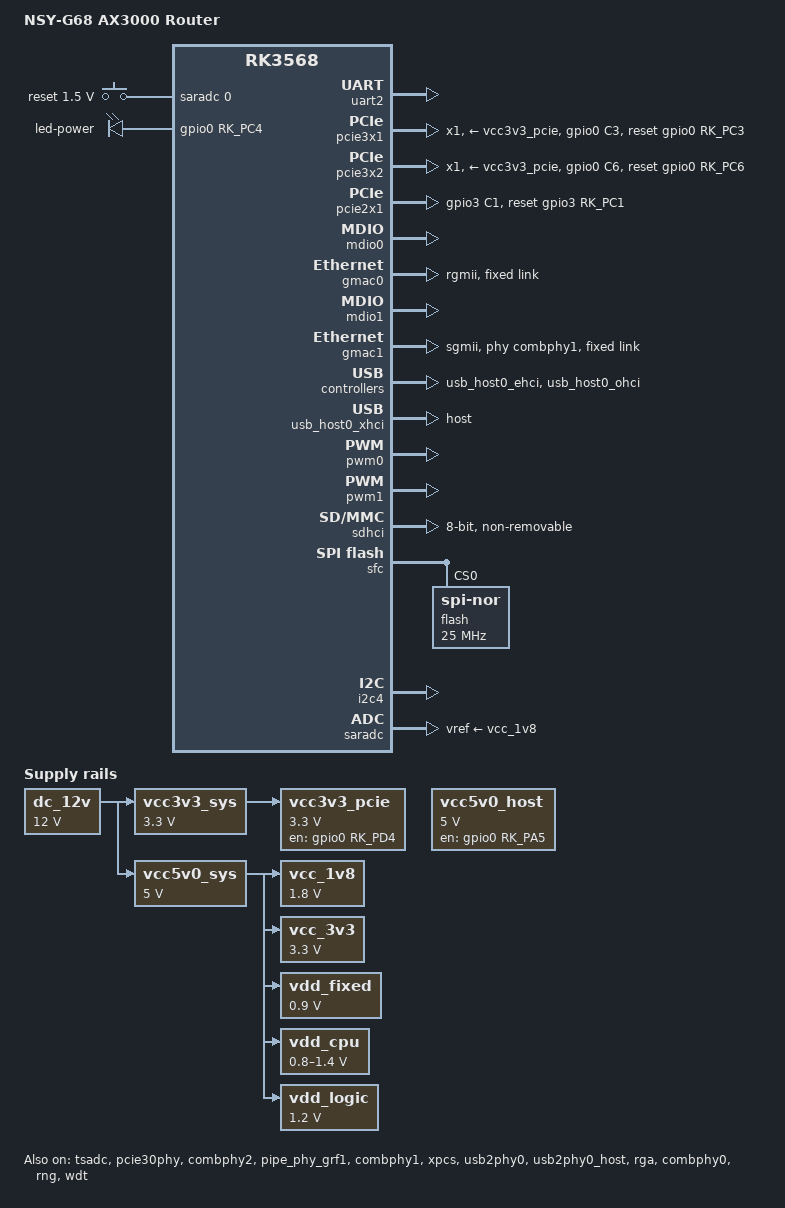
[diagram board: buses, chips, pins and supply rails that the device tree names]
// SPDX-License-Identifier: (GPL-2.0+ OR MIT)

/dts-v1/;

#include <dt-bindings/gpio/gpio.h>
#include <dt-bindings/pwm/pwm.h>
#include <dt-bindings/leds/common.h>
#include <dt-bindings/input/input.h>
#include <dt-bindings/soc/rockchip,vop2.h>
#include <dt-bindings/pinctrl/rockchip.h>
#include "rk3568.dtsi"

/ {
	model = "NSY-G68 AX3000 Router";
	compatible = "nsy,g68-plus", "rockchip,rk3568";

	aliases {
		ethernet0 = &gmac0;
		ethernet1 = &gmac1;
		mmc0 = &sdhci;
	};

	chosen: chosen {
		stdout-path = "serial2:1500000n8";
	};

	fiq-debugger {
		compatible = "rockchip,fiq-debugger";
		rockchip,serial-id = <2>;
		rockchip,wake-irq = <0>;
		/* If enable uart uses irq instead of fiq */
		rockchip,irq-mode-enable = <1>;
		rockchip,baudrate = <1500000>;  /* Only 115200 and 1500000 */
		interrupts = <GIC_SPI 252 IRQ_TYPE_LEVEL_LOW>;
		pinctrl-names = "default";
		pinctrl-0 = <&uart2m0_xfer>;
		status = "okay";
	};

	debug: debug@fd904000 {
		compatible = "rockchip,debug";
		reg = <0x0 0xfd904000 0x0 0x1000>,
			<0x0 0xfd905000 0x0 0x1000>,
			<0x0 0xfd906000 0x0 0x1000>,
			<0x0 0xfd907000 0x0 0x1000>;
	};

	dc_12v: dc-12v {
		compatible = "regulator-fixed";
		regulator-name = "dc_12v";
		regulator-always-on;
		regulator-boot-on;
		regulator-min-microvolt = <12000000>;
		regulator-max-microvolt = <12000000>;
	};

	vcc3v3_sys: vcc3v3-sys {
		compatible = "regulator-fixed";
		regulator-name = "vcc3v3_sys";
		regulator-always-on;
		regulator-boot-on;
		regulator-min-microvolt = <3300000>;
		regulator-max-microvolt = <3300000>;
		vin-supply = <&dc_12v>;
	};

	vcc5v0_sys: vcc5v0-sys {
		compatible = "regulator-fixed";
		regulator-name = "vcc5v0_sys";
		regulator-always-on;
		regulator-boot-on;
		regulator-min-microvolt = <5000000>;
		regulator-max-microvolt = <5000000>;
		vin-supply = <&dc_12v>;
	};

	vcc5v0_host: vcc5v0-host-regulator {
		compatible = "regulator-fixed";
		regulator-name = "vcc5v0_host";
		regulator-boot-on;
		regulator-always-on;
		regulator-min-microvolt = <5000000>;
		regulator-max-microvolt = <5000000>;
		enable-active-high;
		gpio = <&gpio0 RK_PA5 GPIO_ACTIVE_HIGH>;
		pinctrl-names = "default";
		pinctrl-0 = <&vcc5v0_host_en>;
	};

	vcc_1v8: vcc-1v8 {
		compatible = "regulator-fixed";
		regulator-name = "vcc_1v8";
		regulator-always-on;
		regulator-boot-on;
		regulator-min-microvolt = <1800000>;
		regulator-max-microvolt = <1800000>;
		vin-supply = <&vcc5v0_sys>;
	};

	vcc_3v3: vcc_3v3 {
		compatible = "regulator-fixed";
		regulator-name = "vcc_3v3";
		regulator-always-on;
		regulator-boot-on;
		regulator-min-microvolt = <3300000>;
		regulator-max-microvolt = <3300000>;
		vin-supply = <&vcc5v0_sys>;
		phandle = <&vcc_3v3>;
	};

	vcc3v3_pcie: vcc3v3-pcie {
		compatible = "regulator-fixed";
		regulator-name = "vcc3v3_pcie";
		enable-active-high;
		gpio = <&gpio0 RK_PD4 GPIO_ACTIVE_HIGH>;
		regulator-min-microvolt = <3300000>;
		regulator-max-microvolt = <3300000>;
		vin-supply = <&vcc3v3_sys>;
		phandle = <&vcc3v3_pcie>;
	};

	vccio_sd: LDO_REG5 {
		regulator-always-on;
		regulator-boot-on;
		regulator-min-microvolt = <1800000>;
		regulator-max-microvolt = <3300000>;
		regulator-name = "vccio_sd";

		regulator-state-mem {
			regulator-off-in-suspend;
		};
	};

	vcc3v3_sd: SWITCH_REG2 {
		regulator-always-on;
		regulator-boot-on;
		regulator-name = "vcc3v3_sd";

		regulator-state-mem {
			regulator-off-in-suspend;
		};
	};

	vdd_fixed: vdd-fixed {
		compatible = "regulator-fixed";
		regulator-name = "vdd_fixed";
		regulator-min-microvolt = <900000>;
		regulator-max-microvolt = <900000>;
		regulator-always-on;
		regulator-boot-on;
		vin-supply = <&vcc5v0_sys>;
	};

	vdd_cpu: vdd-cpu {
		compatible = "pwm-regulator";
		pwms = <&pwm0 0 25000 1>;
		regulator-name = "vdd_cpu";
		regulator-min-microvolt = <800000>;
		regulator-max-microvolt = <1400000>;
		regulator-init-microvolt = <1150000>;
		regulator-always-on;
		regulator-boot-on;
		regulator-settling-time-up-us = <250>;
		pwm-supply = <&vcc5v0_sys>;
		status = "okay";
	};


	vdd_logic: vdd-logic {
		compatible = "pwm-regulator";
		pwms = <&pwm1 0 5000 1>;
		regulator-name = "vdd_logic";
		regulator-min-microvolt = <1200000>;
		regulator-max-microvolt = <1200000>;
		regulator-init-microvolt = <900000>;
		regulator-always-on;
		regulator-boot-on;
		regulator-settling-time-up-us = <250>;
		pwm-supply = <&vcc5v0_sys>;
		status = "okay";
	};

	vdd_npu: vdd-npu {
		compatible = "pwm-regulator";
		pwms = <&pwm2 0 5000 1>;
		regulator-name = "vdd_npu";
		regulator-min-microvolt = <800000>;
		regulator-max-microvolt = <1200000>;
		regulator-init-microvolt = <950000>;
		regulator-always-on;
		regulator-boot-on;
		regulator-settling-time-up-us = <250>;
		pwm-supply = <&vcc5v0_sys>;
		status = "disabled";
	};

	gmac0_xpcsclk: xpcs-gmac0-clock {
		compatible = "fixed-clock";
		clock-frequency = <125000000>;
		clock-output-names = "clk_gmac0_xpcs_mii";
		#clock-cells = <0>;
	};

	gmac1_xpcsclk: xpcs-gmac1-clock {
		compatible = "fixed-clock";
		clock-frequency = <125000000>;
		clock-output-names = "clk_gmac1_xpcs_mii";
		#clock-cells = <0>;
	};

	adc_keys: adc-keys {
		compatible = "adc-keys";
		io-channels = <&saradc 0>;
		io-channel-names = "buttons";
		keyup-threshold-microvolt = <1800000>;
		poll-interval = <100>;
		status = "okay";
		recovery-key {
			label = "reset";
			linux,code = <KEY_RESTART>;
			press-threshold-microvolt = <1500000>;
		};
	};

	leds {
		compatible = "gpio-leds";
		led-power {
			label = "led-power";
			linux,default-trigger = "heartbeat";
			//default-state = "on";
			gpios = <&gpio0 RK_PC4 GPIO_ACTIVE_HIGH>;
			pinctrl-names = "default";
			pinctrl-0 = <&led_power_en>;
		};
	};

	rtlgsw@0 {
		compatible = "realtek,rtl8367s";
		realtek,mdio = <&mdio0>;
		mii-bus = <&mdio0>;
		realtek,id = <29>;
		phy-id = <29>;
		cpu_port = <7>;

		//txdelay, rxdelay, mode, ability.force_mode, ability.txpause, ability.rxpause, ability.link, ability.duplex, speed
		//sgmii,
		realtek,extif1 = <0 0 11 1 1 1 1 1 2>;
		//rgmii
		realtek,extif2 = <0 0 1 1 1 1 1 1 2>;
		//realtek,disable-leds;
		status = "okay";
	};
};

&i2c0 {
	status = "disabled";
};

&pinctrl {
	usb {
		vcc5v0_host_en: vcc5v0-host-en {
			rockchip,pins = <0 RK_PA5 RK_FUNC_GPIO &pcfg_pull_none>;
		};
	};

	pcie {
		pcie30x1_reset_h: pcie30x1-reset-h {
			rockchip,pins = <0 RK_PC3 RK_FUNC_GPIO &pcfg_pull_none>;
		};
		pcie30x2_reset_h: pcie30x2-reset-h {
			rockchip,pins = <0 RK_PC6 RK_FUNC_GPIO &pcfg_pull_none>;
		};
		pcie2x1_reset_h: pcie2x1-reset-h {
			rockchip,pins = <3 RK_PC1 RK_FUNC_GPIO &pcfg_pull_none>;
		};
	};

	gmac-reset {
		gmac0_reset: gmac0-reset {
			rockchip,pins = <1 RK_PB0 RK_FUNC_GPIO &pcfg_pull_none>;
		};
	};

	leds {
		led_power_en: led-power-en {
			rockchip,pins = <0 RK_PC4 RK_FUNC_GPIO &pcfg_pull_none>;
		};
	};
};

&cpu0 {
	cpu-supply = <&vdd_cpu>;
};

&cpu1 {
	cpu-supply = <&vdd_cpu>;
};

&cpu2 {
	cpu-supply = <&vdd_cpu>;
};

&cpu3 {
	cpu-supply = <&vdd_cpu>;
};

&tsadc {
	rockchip,hw-tshut-mode = <1>;
	rockchip,hw-tshut-polarity = <0>;
	status = "okay";
};

&uart2 {
	status = "okay";
};

&pcie30_phy_grf {
};

// 注意两条 pcie reset gpio 均与 NSY不同
// fe270000
// 这里需要更换uboot版本,因为只有支持的pcie拆分的才能启动这个
// 不然开启就挂死,更换版本:https://github.com/Kwiboo/u-boot-rockchip
// https://lists.denx.de/pipermail/u-boot/2023-August/525793.html
// 这个pcie,可能需要打补丁,使用radxa 版本
&pcie3x1 {
		vpcie3v3-supply = <&vcc3v3_pcie>;
		reset-gpios = <&gpio0 RK_PC3 GPIO_ACTIVE_HIGH>;
		num-lanes = <0x1>; /*可能不生效,但是拆分需要打补丁,如果是吧,打补丁*/
		pinctrl-0 = <&pcie30x1_reset_h>;
		status = "okay";
};

//fe280000
&pcie3x2 {
		vpcie3v3-supply = <&vcc3v3_pcie>;
		reset-gpios = <&gpio0 RK_PC6 GPIO_ACTIVE_HIGH>;
		status = "okay";
		num-lanes = <0x1>;
		pinctrl-0 = <&pcie30x2_reset_h>;
};

&pcie30phy {
		data-lanes = <1 2>; //配置lan的通道树
		status = "okay";
};

&combphy2 {
		status = "okay";
};

&pcie2x1 {
		reset-gpios = <&gpio3 RK_PC1 GPIO_ACTIVE_HIGH>;
		pinctrl-0 = <&pcie2x1_reset_h>;
		//for kernel.dts
		rockchip,perst-inactive-ms = <500>;
		status = "okay";
};

/*使用DSA驱动模型*/
&mdio0 {
	status = "okay";
};

&gmac0 {
	status = "okay";
	phy-mode = "rgmii";
	clock_in_out = "output";
	// reset gpio 写到交换机配置里面
	// snps,reset-gpio = <&gpio1 RK_PB0 GPIO_ACTIVE_LOW>;
	// snps,reset-active-low;
	// snps,reset-delays-us = <20000 100000 150000>;
	assigned-clocks = <&cru SCLK_GMAC0_RX_TX &cru SCLK_GMAC0>;
	assigned-clock-parents = <&cru SCLK_GMAC0_RGMII_SPEED &cru CLK_MAC0_2TOP>;
	assigned-clock-rates = <0x0 125000000>;
	tx_delay = <0x3c>;
	rx_delay = <0x2f>;
	pinctrl-names = "default";
	pinctrl-0 = <&gmac0_miim &gmac0_tx_bus2 &gmac0_rx_bus2 &gmac0_rgmii_clk &gmac0_rgmii_bus /*&gmac0_reset*/>;
	fixed-link {
		speed = <1000>;
		full-duplex;
	};
};

&mdio1 {
	status = "okay";
};

&pipe_phy_grf1 {
	status = "okay";
};

&combphy1 {
	rockchip,sgmii-mac-sel = <1>;
	status = "okay";
};

&xpcs {
	status = "okay";
};

&gmac1 {
	assigned-clocks = <&cru SCLK_GMAC1_RX_TX>;
	assigned-clock-parents = <&gmac1_xpcsclk>;
	status = "okay";
	phy-mode = "sgmii";
	clock_in_out = "input";
	rockchip,pipegrf = <&pipegrf>;
	rockchip,xpcs = <&xpcs>;
	//snps,reset-gpio = <&gpio2 RK_PC2 GPIO_ACTIVE_LOW>;
	//snps,reset-active-low;
	//snps,reset-delays-us = <0 20000 100000>;
	pinctrl-names = "default";
	pinctrl-0 = <&gmac1m1_miim>;
	power-domains = <&power RK3568_PD_PIPE>;
	phys = <&combphy1 PHY_TYPE_SGMII>;
	tx_delay = <0x30>;
	rx_delay = <0x20>;
	fixed-link {
		speed = <1000>;
		full-duplex;
	};
};

&usb_host0_ehci {
	status = "okay";
};

&usb_host0_ohci {
	status = "okay";
	snps,dis_enblslpm_quirk;
	snps,dis-u1-entry-quirk;
	snps,dis-u2-entry-quirk;
	snps,dis-u2-freeclk-exists-quirk;
	snps,dis-del-phy-power-chg-quirk;
	snps,dis-tx-ipgap-linecheck-quirk;
	snps,dis_rxdet_inp3_quirk;
	snps,xhci-trb-ent-quirk;
	snps,parkmode-disable-ss-quirk;
	quirk-skip-phy-init;
};

&usb_host0_xhci {
	dr_mode = "host";//自动检测
	//extcon = <&combphy0>;
	status = "okay";
	extcon = <&usb2phy0>; //超过rxda测试
	snps,dis_enblslpm_quirk;
	snps,dis-u1-entry-quirk;
	snps,dis-u2-entry-quirk;
	snps,dis-u2-freeclk-exists-quirk;
	snps,dis-del-phy-power-chg-quirk;
	snps,dis-tx-ipgap-linecheck-quirk;
	snps,dis_rxdet_inp3_quirk;
	snps,xhci-trb-ent-quirk;
	snps,parkmode-disable-ss-quirk;
	quirk-skip-phy-init;
};

&usb_host1_ehci {
	status = "disabled";
};

&usb_host1_ohci {
	status = "disabled";
};

&usb_host1_xhci {
	dr_mode = "host";//自动检测
	snps,dis_enblslpm_quirk;
	snps,dis-u2-freeclk-exists-quirk;
	snps,dis-del-phy-power-chg-quirk;
	snps,dis-tx-ipgap-linecheck-quirk;
	snps,dis_rxdet_inp3_quirk;
	snps,xhci-trb-ent-quirk;
	snps,parkmode-disable-ss-quirk;
	status = "disabled";
};

&usb2phy0 {
	status = "okay";
};

&usb2phy0_host {
	phy-supply = <&vcc5v0_host>;
	status = "okay";
};

&usb2phy0_otg {
	//phy-supply = <&vcc5v0_otg>;
	status = "disabled";
};

&usb2phy1 {
	status = "disabled";
};

&usb2phy1_host {
	phy-supply = <&vcc5v0_host>;
	status = "disabled";
};

&usb2phy1_otg {
	phy-supply = <&vcc5v0_host>;
	status = "disabled";
};

&sata2 {
	status = "disabled";
};

&pmu_io_domains {
	status = "disabled";
};

&pwm0 {
	status = "okay";
};

&pwm1 {
	status = "okay";
};

&pwm2 {
	status = "disable";
};

&pwm3 {
	status = "disable";
};

&power {
	status = "okay";
};

&gpu {
	status = "disabled";
};

&vpu {
	status = "disabled";
};

&rga {
	status = "okay";
};

&vepu {
	status = "disabled";
};

&vop {
	status = "disabled";
};

//sdhci@fe310000
&sdhci {
	max-frequency = <200000000>;
	bus-width = <8>;
	no-sdio;
	no-sd;
	supports-emmc;
	non-removable;
	mmc-hs200-1_8v;
	pinctrl-names = "default";
	pinctrl-0 = <&emmc_bus8 &emmc_clk &emmc_cmd &emmc_datastrobe>;
	status = "okay";
};

//dwmmc@fe000000
&sdmmc2 {
	max-frequency = <150000000>;
	fifo-depth = <256>;
	no-sd;
	no-mmc;
	bus-width = <4>;
	disable-wp;
	cap-sd-highspeed;
	cap-sdio-irq;
	keep-power-in-suspend;
	sd-uhs-sdr104;
	non-removable;
	pinctrl-names = "default";
	pinctrl-0 = <&sdmmc2m0_bus4 &sdmmc2m0_cmd &sdmmc2m0_clk>;
	status = "disabled";
};

//dwmmc@fe2b0000
&sdmmc0 {
	max-frequency = <150000000>;
	fifo-depth = <256>;
	no-sdio;
	bus-width = <4>;
	cap-mmc-highspeed;
	cap-sd-highspeed;
	disable-wp;
	sd-uhs-sdr104;
	vmmc-supply = <&vcc3v3_sd>;
	vqmmc-supply = <&vccio_sd>;
	pinctrl-names = "default";
	pinctrl-0 = <&sdmmc0_bus4 &sdmmc0_clk &sdmmc0_cmd &sdmmc0_det>;
	status = "disabled";
};

&combphy0 {
	status = "okay";
};

&csi_dphy {
	status = "disabled";
};

/* Add #address-cells, #size-cells */
&sfc {
	status = "okay";
	#address-cells = <1>;  /* One cell for the chip select */
	#size-cells = <0>;     /* No cell for the size */

	flash@0 {
		compatible = "spi-nor";
		reg = <0>;
		spi-max-frequency = <25000000>;
		spi-rx-bus-width = <4>;
		spi-tx-bus-width = <1>;
	};
};

&rng {
	status = "okay";
};

//i2c@fe5a0000
&i2c1 {
	status = "disabled";
};

&i2c4 {
	status = "okay";
};

&i2c5 {
	status = "disabled";
};

&wdt {
	status = "okay";
};

&uart8 {
	status = "disabled";
};

&pwm4 {
	status = "disabled";
};

&pwm5 {
	status = "disabled";
};

&pwm7 {
	status = "disabled";
};

&pwm8 {
	status = "disabled";
};

&pwm9 {
	status = "disabled";
};

//fe720000
&saradc {
	status = "okay";
	vref-supply = <&vcc_1v8>;
};
